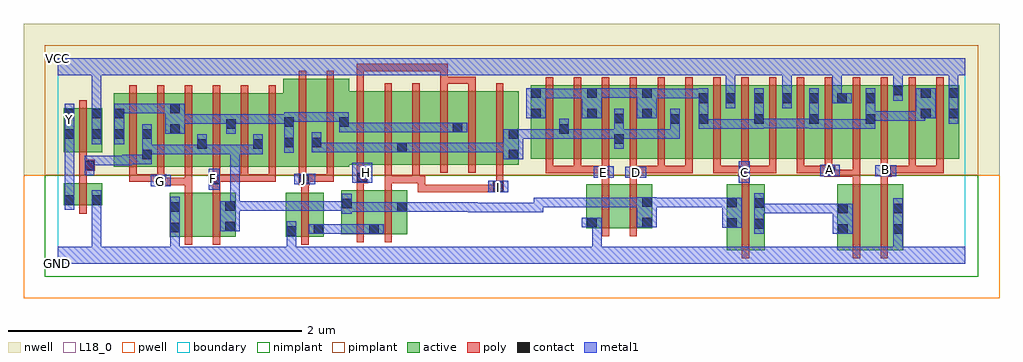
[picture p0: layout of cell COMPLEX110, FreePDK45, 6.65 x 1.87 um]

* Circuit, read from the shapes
.subckt COMPLEX110 A B C D E F G GND H I J VCC Y
M1 GND n1 Y VSUBS nfet w=0.15u l=0.05u
M2 n2 G GND VSUBS nfet w=0.3u l=0.05u
M3 n1 F n2 VSUBS nfet w=0.3u l=0.05u
M4 n3 J GND VSUBS nfet w=0.3u l=0.05u
M5 n3 H n1 VSUBS nfet w=0.3u l=0.05u
M6 n1 I n3 VSUBS nfet w=0.3u l=0.05u
M7 n4 E GND VSUBS nfet w=0.3u l=0.05u
M8 n1 D n4 VSUBS nfet w=0.3u l=0.05u
M9 n5 C n1 VSUBS nfet w=0.45u l=0.05u
M10 n6 A n5 VSUBS nfet w=0.45u l=0.05u
M11 GND B n6 VSUBS nfet w=0.45u l=0.05u
M12 VCC n1 Y n7 pfet w=0.3u l=0.05u
M13 n1 G n8 n7 pfet w=0.5u l=0.05u m=3
M14 n8 F n1 n7 pfet w=0.5u l=0.05u m=3
M15 n9 J n8 n7 pfet w=0.6u l=0.05u m=2
M16 n10 H n8 n7 pfet w=0.5u l=0.05u
M17 n9 I n10 n7 pfet w=0.5u l=0.05u
M18 n11 I n9 n7 pfet w=0.5u l=0.05u
M19 n8 H n11 n7 pfet w=0.5u l=0.05u
M20 n12 H n8 n7 pfet w=0.5u l=0.05u
M21 n9 I n12 n7 pfet w=0.5u l=0.05u
M22 n9 E n13 n7 pfet w=0.5u l=0.05u m=3
M23 n13 D n9 n7 pfet w=0.5u l=0.05u m=3
M24 VCC C n13 n7 pfet w=0.5u l=0.05u m=3
M25 n13 A VCC n7 pfet w=0.5u l=0.05u m=3
M26 VCC B n13 n7 pfet w=0.5u l=0.05u m=3
.ends

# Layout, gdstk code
import gdstk
lib = gdstk.Library(unit=1e-6, precision=1e-09)
def R(c, l, rs):  # rectangles x0, y0, x1, y1
    for r in rs: c.add(gdstk.rectangle(r[:2], r[2:], *l))
def A(c, l, x, y, w, h, nx, ny, dx, dy):  # array of equal rectangles
    R(c, l, [(x+i*dx, y+j*dy, x+i*dx+w, y+j*dy+h) for i in range(nx) for j in range(ny)])
active = (1, 0)
pwell = (2, 0)
nwell = (3, 0)
nimplant = (4, 0)
pimplant = (5, 0)
poly = (9, 0)
contact = (10, 0)
metal1 = (11, 0)
L18_0 = (18, 0)
boundary = (235, 0)

complex110 = lib.new_cell('COMPLEX110')
A(complex110, active, 2.155, 0.675, 0.225, 0.5, 3, 1, 0.38, 0)
A(complex110, active, 4.36, 0.717, 0.26, 0.5, 3, 1, 0.57, 0)
R(complex110, active, [(4.555,0.092,4.815,0.542), (5.31,0.092,5.535,0.542), (5.535,0.092,5.76,0.542), (4.555,0.097,4.63,0.542), (4.74,0.097,4.815,0.542), (5.31,0.097,5.415,0.542), (5.685,0.097,5.76,0.542), (0.76,0.185,0.835,0.485), (0.76,0.185,0.985,0.485), (0.985,0.185,1.21,0.485), (1.552,0.185,1.627,0.485), (1.552,0.185,1.812,0.485), (1.135,0.2,1.21,0.485), (1.737,0.2,1.812,0.485), (1.93,0.2,2.19,0.5), (2.115,0.2,2.38,0.5), (2.115,0.2,2.19,0.392), (2.305,0.2,2.38,0.5), (3.6,0.242,3.675,0.542), (3.6,0.242,3.825,0.542), (3.825,0.242,4.05,0.542), (3.975,0.242,4.05,0.542), (1.93,0.247,2.005,0.5), (0.04,0.397,0.115,0.547), (0.04,0.397,0.3,0.547), (0.225,0.397,0.3,0.547), (0.38,0.66,0.645,1.16), (0.38,0.66,0.455,1.157), (0.57,0.66,0.835,1.16), (0.57,0.66,0.645,1.07), (0.76,0.66,1.02,1.16), (0.945,0.66,1.02,1.07), (0.945,0.66,1.215,1.16), (1.14,0.66,1.4,1.16), (1.325,0.66,1.4,1.07), (1.325,0.66,1.61,1.16), (1.535,0.66,1.8,1.26), (1.535,0.66,1.61,1.2), (1.725,0.66,1.8,1.07), (1.725,0.66,1.985,1.26), (1.91,0.675,2.155,1.175), (2.305,0.675,2.535,1.175), (2.305,0.675,2.38,1.07), (2.685,0.675,2.76,1.157), (2.685,0.675,2.915,1.175), (3.065,0.675,3.14,1.157), (1.14,0.702,1.215,1.157), (3.22,0.717,3.485,1.217), (3.22,0.717,3.295,1.2), (3.41,0.717,3.675,1.217), (3.6,0.717,3.86,1.217), (3.785,0.717,4.05,1.217), (3.975,0.717,4.24,1.217), (4.165,0.717,4.435,1.217), (4.545,0.717,4.815,1.217), (4.74,0.717,5.005,1.217), (5.115,0.717,5.38,1.217), (5.305,0.717,5.575,1.217), (5.685,0.717,5.95,1.217), (5.875,0.717,6.14,1.217), (6.065,0.717,6.14,1.217), (1.91,0.722,1.985,1.2), (5.875,0.74,5.95,1.2), (0.04,0.76,0.115,1.06), (0.04,0.76,0.3,1.06), (0.225,0.76,0.3,1.06), (4.36,0.8,4.435,1.2), (0.76,0.807,0.835,1.157), (3.41,0.807,3.485,1.07), (3.6,0.807,3.675,1.2), (3.785,0.807,3.86,1.07), (3.975,0.807,4.05,1.2), (4.165,0.807,4.24,1.07), (4.545,0.807,4.62,1.217), (4.74,0.807,4.815,1.2), (4.93,0.807,5.005,1.217), (5.115,0.807,5.19,1.2), (5.305,0.807,5.38,1.217), (5.5,0.807,5.575,1.2), (5.685,0.807,5.76,1.217)])
R(complex110, pwell, [(-0.235,-0.235,6.415,0.602)])
R(complex110, nwell, [(-0.235,0.602,6.415,1.635)])
R(complex110, nimplant, [(-0.09,-0.09,6.27,0.602)])
R(complex110, pimplant, [(-0.09,0.602,6.27,1.49)])
A(complex110, poly, 1.055, 0.56, 0.05, 0.095, 3, 1, 0.19, 0)
A(complex110, poly, 0.485, 0.605, 0.05, 0.61, 6, 1, 0.19, 0)
A(complex110, poly, 3.325, 0.617, 0.05, 0.095, 11, 1, 0.19, 0)
A(complex110, poly, 5.605, 0.617, 0.05, 0.095, 3, 1, 0.19, 0)
A(complex110, poly, 2.035, 0.62, 0.05, 0.61, 6, 1, 0.19, 0)
A(complex110, poly, 3.325, 0.662, 0.05, 0.61, 15, 1, 0.19, 0)
R(complex110, poly, [(4.66,0.037,4.71,0.597), (5.415,0.037,5.465,0.597), (5.605,0.037,5.655,0.597), (0.865,0.13,0.915,0.54), (1.055,0.13,1.105,0.54), (1.657,0.13,1.707,0.54), (2.035,0.145,2.085,0.555), (2.225,0.145,2.275,0.555), (3.705,0.187,3.755,0.597), (3.895,0.187,3.945,0.597), (0.145,0.342,0.195,0.602), (2.452,0.487,2.655,0.537), (2.452,0.487,2.502,0.6), (2.605,0.487,2.655,0.537), (2.605,0.487,2.787,0.537), (2.737,0.487,2.787,0.537), (2.737,0.487,2.787,0.537), (2.737,0.487,2.787,0.537), (2.737,0.487,3.012,0.537), (2.962,0.487,3.012,0.537), (2.962,0.487,3.012,0.537), (2.962,0.487,3.037,0.562), (0.865,0.49,0.915,0.585), (1.055,0.49,1.105,0.585), (1.657,0.49,1.707,0.585), (2.035,0.505,2.085,0.6), (2.225,0.505,2.275,0.6), (2.985,0.512,3.035,0.67), (0.662,0.535,0.737,0.61), (0.687,0.535,0.737,0.585), (0.687,0.535,0.737,0.585), (0.687,0.535,0.915,0.585), (0.865,0.535,0.915,0.585), (0.865,0.535,0.915,0.655), (1.032,0.535,1.107,0.61), (1.64,0.535,1.715,0.61), (3.705,0.547,3.755,0.642), (3.895,0.547,3.945,0.642), (4.66,0.547,4.71,0.642), (5.415,0.547,5.465,0.642), (5.605,0.547,5.655,0.642), (2.035,0.55,2.11,0.625), (2.225,0.55,2.275,0.6), (2.225,0.55,2.275,0.6), (2.225,0.55,2.275,0.6), (2.225,0.55,2.465,0.6), (2.225,0.55,2.275,0.67), (2.415,0.55,2.465,0.6), (2.415,0.55,2.465,0.67), (2.415,0.55,2.502,0.6), (0.145,0.552,0.195,0.682), (0.485,0.56,0.535,0.655), (0.485,0.56,0.535,0.61), (0.485,0.56,0.535,0.61), (0.485,0.56,0.535,0.61), (0.485,0.56,0.712,0.61), (0.675,0.56,0.725,0.655), (1.057,0.56,1.295,0.61), (1.245,0.56,1.295,0.61), (1.245,0.56,1.295,0.61), (1.245,0.56,1.295,0.61), (1.245,0.56,1.485,0.61), (1.435,0.56,1.485,0.61), (1.435,0.56,1.485,0.61), (1.435,0.56,1.485,0.61), (1.64,0.56,1.69,0.655), (1.665,0.56,1.88,0.61), (1.83,0.56,1.88,0.655), (1.83,0.56,1.88,0.61), (1.83,0.56,1.88,0.61), (1.83,0.56,1.88,0.61), (2.035,0.575,2.085,0.67), (3.68,0.592,3.755,0.667), (3.895,0.592,3.97,0.667), (4.635,0.592,4.71,0.667), (5.222,0.592,5.297,0.667), (5.247,0.592,5.465,0.642), (5.415,0.592,5.465,0.642), (5.415,0.592,5.465,0.642), (5.415,0.592,5.465,0.642), (5.415,0.592,5.465,0.712), (5.605,0.592,5.68,0.667), (1.64,0.605,1.69,1.315), (1.83,0.605,1.88,1.315), (3.325,0.617,3.375,0.667), (3.325,0.617,3.375,0.667), (3.325,0.617,3.375,0.667), (3.325,0.617,3.565,0.667), (3.515,0.617,3.565,0.667), (3.515,0.617,3.565,0.667), (3.515,0.617,3.565,0.667), (3.515,0.617,3.73,0.667), (3.92,0.617,4.135,0.667), (4.085,0.617,4.135,0.667), (4.085,0.617,4.135,0.667), (4.085,0.617,4.135,0.667), (4.085,0.617,4.325,0.667), (4.275,0.617,4.325,0.667), (4.275,0.617,4.325,0.667), (4.275,0.617,4.325,0.667), (4.465,0.617,4.515,0.667), (4.465,0.617,4.685,0.667), (4.635,0.617,4.685,0.667), (4.635,0.617,4.685,0.667), (4.66,0.617,4.895,0.667), (4.845,0.617,4.895,0.667), (4.845,0.617,4.895,0.667), (4.845,0.617,4.895,0.667), (5.035,0.617,5.085,0.667), (5.035,0.617,5.085,0.667), (5.035,0.617,5.085,0.667), (5.035,0.617,5.272,0.667), (5.63,0.617,5.68,0.667), (5.63,0.617,5.68,0.667), (5.63,0.617,5.845,0.667), (5.795,0.617,5.845,0.667), (5.795,0.617,6.035,0.667), (5.985,0.617,6.035,0.667), (5.985,0.617,6.035,0.667), (5.985,0.617,6.035,0.667), (0.145,0.632,0.252,0.707), (0.145,0.657,0.195,0.755), (0.145,0.705,0.195,1.115), (2.035,1.18,2.085,1.362), (2.605,1.18,2.655,1.275), (2.795,1.18,2.845,1.275), (2.605,1.225,2.845,1.275), (2.605,1.225,2.655,1.362), (2.795,1.225,2.845,1.275), (2.795,1.225,2.845,1.275), (2.795,1.225,2.845,1.275), (2.035,1.312,2.085,1.362), (2.035,1.312,2.085,1.362), (2.035,1.312,2.085,1.362), (2.035,1.312,2.332,1.362), (2.282,1.312,2.332,1.362), (2.282,1.312,2.332,1.362), (2.282,1.312,2.332,1.362), (2.282,1.312,2.465,1.362), (2.415,1.312,2.465,1.362), (2.415,1.312,2.655,1.362), (2.605,1.312,2.655,1.362), (2.605,1.312,2.655,1.362)])
R(complex110, contact, [(1.557,0.19,1.622,0.255), (1.742,0.205,1.807,0.27), (2.12,0.205,2.185,0.27), (5.315,0.205,5.38,0.27), (5.69,0.205,5.755,0.27), (0.765,0.215,0.83,0.28), (1.14,0.222,1.205,0.287), (4.745,0.24,4.81,0.305), (4.56,0.245,4.625,0.31), (3.605,0.247,3.67,0.312), (3.98,0.247,4.045,0.312), (5.315,0.345,5.38,0.41), (5.69,0.345,5.755,0.41), (0.765,0.355,0.83,0.42), (2.31,0.355,2.375,0.42), (1.14,0.362,1.205,0.427), (1.935,0.377,2,0.442), (4.745,0.38,4.81,0.445), (4.56,0.385,4.625,0.45), (3.98,0.387,4.045,0.452), (0.045,0.402,0.11,0.467), (0.23,0.402,0.295,0.467), (2.967,0.492,3.032,0.557), (0.667,0.54,0.732,0.605), (1.037,0.54,1.102,0.605), (1.645,0.54,1.71,0.605), (2.04,0.555,2.105,0.62), (3.685,0.597,3.75,0.662), (3.9,0.597,3.965,0.662), (4.64,0.597,4.705,0.662), (5.227,0.597,5.292,0.662), (5.61,0.597,5.675,0.662), (0.182,0.637,0.247,0.702), (0.575,0.712,0.64,0.777), (3.07,0.712,3.135,0.777), (2.31,0.76,2.375,0.825), (0.95,0.782,1.015,0.847), (1.33,0.782,1.395,0.847), (1.54,0.792,1.605,0.857), (1.73,0.795,1.795,0.86), (3.79,0.817,3.855,0.882), (0.045,0.85,0.11,0.915), (0.23,0.85,0.295,0.915), (0.385,0.85,0.45,0.915), (0.575,0.852,0.64,0.917), (3.07,0.852,3.135,0.917), (0.765,0.885,0.83,0.95), (3.415,0.887,3.48,0.952), (2.69,0.897,2.755,0.962), (1.145,0.92,1.21,0.985), (1.54,0.932,1.605,0.997), (1.915,0.932,1.98,0.997), (4.17,0.955,4.235,1.02), (4.365,0.955,4.43,1.02), (4.745,0.955,4.81,1.02), (5.12,0.955,5.185,1.02), (5.505,0.955,5.57,1.02), (3.79,0.957,3.855,1.022), (0.045,0.99,0.11,1.055), (0.23,0.99,0.295,1.055), (0.385,0.99,0.45,1.055), (3.225,0.99,3.29,1.055), (3.605,0.99,3.67,1.055), (3.98,0.99,4.045,1.055), (5.88,0.99,5.945,1.055), (6.07,0.99,6.135,1.055), (0.765,1.025,0.83,1.09), (4.365,1.095,4.43,1.16), (4.55,1.095,4.615,1.16), (4.745,1.095,4.81,1.16), (4.935,1.095,5,1.16), (5.12,1.095,5.185,1.16), (5.31,1.095,5.375,1.16), (5.505,1.095,5.57,1.16), (3.225,1.13,3.29,1.195), (3.605,1.13,3.67,1.195), (3.98,1.13,4.045,1.195), (5.88,1.13,5.945,1.195), (6.07,1.13,6.135,1.195), (5.69,1.147,5.755,1.212)])
R(complex110, metal1, [(0,0,6.18,0.115), (0.23,0.05,0.295,0.115), (0.23,0.05,0.295,0.115), (0.23,0.05,0.295,0.115), (0.23,0.05,0.295,0.115), (0.23,0.05,0.295,0.432), (0.765,0.05,0.83,0.115), (0.765,0.05,0.83,0.115), (0.765,0.05,0.83,0.245), (1.557,0.05,1.622,0.22), (3.64,0.05,3.705,0.312), (5.69,0.05,5.755,0.235), (1.557,0.155,1.622,0.22), (1.557,0.155,1.622,0.22), (1.557,0.155,1.622,0.29), (5.69,0.17,5.755,0.445), (0.765,0.18,0.83,0.455), (1.707,0.205,1.842,0.27), (1.777,0.205,1.932,0.27), (1.867,0.205,1.932,0.27), (1.867,0.205,1.98,0.27), (1.915,0.205,1.98,0.27), (1.915,0.205,2.15,0.27), (2.085,0.205,2.15,0.27), (2.085,0.205,2.15,0.27), (2.085,0.205,2.22,0.27), (4.745,0.205,4.81,0.48), (5.28,0.205,5.415,0.41), (1.105,0.222,1.24,0.427), (4.525,0.245,4.66,0.45), (3.57,0.247,3.705,0.312), (3.64,0.247,3.705,0.312), (3.64,0.247,3.705,0.312), (3.945,0.247,4.08,0.452), (1.935,0.342,2,0.477), (4.745,0.345,4.842,0.41), (4.777,0.345,4.842,0.41), (4.777,0.345,5.047,0.41), (4.982,0.345,5.047,0.41), (4.982,0.345,5.047,0.41), (4.982,0.345,5.047,0.41), (4.982,0.345,5.185,0.41), (5.12,0.345,5.185,0.41), (5.12,0.345,5.185,0.41), (5.12,0.345,5.185,0.41), (5.12,0.345,5.345,0.41), (2.795,0.35,2.86,0.415), (2.795,0.35,2.86,0.415), (2.795,0.35,2.997,0.415), (2.795,0.35,2.86,0.42), (2.932,0.35,2.997,0.415), (2.932,0.35,3.117,0.415), (3.052,0.35,3.117,0.415), (3.052,0.35,3.307,0.415), (3.242,0.35,3.307,0.45), (1.935,0.355,2.202,0.42), (2.137,0.355,2.202,0.42), (2.137,0.355,2.202,0.42), (2.137,0.355,2.202,0.42), (2.137,0.355,2.34,0.42), (2.275,0.355,2.34,0.42), (2.275,0.355,2.34,0.42), (2.275,0.355,2.41,0.42), (2.345,0.355,2.582,0.42), (2.517,0.355,2.582,0.42), (2.517,0.355,2.582,0.42), (2.517,0.355,2.582,0.42), (2.517,0.355,2.72,0.42), (2.655,0.355,2.72,0.42), (2.655,0.355,2.72,0.42), (2.655,0.355,2.72,0.42), (2.655,0.355,2.86,0.42), (1.175,0.362,1.382,0.427), (1.175,0.362,1.24,0.812), (1.317,0.362,1.382,0.427), (1.317,0.362,1.382,0.427), (1.317,0.362,1.382,0.427), (1.317,0.362,1.537,0.427), (1.472,0.362,1.537,0.427), (1.472,0.362,1.537,0.427), (1.472,0.362,1.537,0.427), (1.472,0.362,1.795,0.427), (1.73,0.362,1.795,0.427), (1.73,0.362,1.795,0.427), (1.73,0.362,1.795,0.427), (1.73,0.362,1.932,0.427), (1.867,0.362,1.932,0.427), (1.867,0.362,2,0.427), (0.045,0.367,0.11,0.502), (0.23,0.367,0.295,0.502), (3.242,0.385,3.307,0.45), (3.242,0.385,3.307,0.45), (3.242,0.385,3.462,0.45), (3.397,0.385,3.462,0.45), (3.397,0.385,3.462,0.45), (3.397,0.385,3.462,0.45), (3.397,0.385,3.705,0.45), (3.64,0.385,3.705,0.45), (3.64,0.385,3.705,0.45), (3.64,0.385,3.705,0.45), (3.64,0.385,3.842,0.45), (3.777,0.385,3.842,0.45), (3.777,0.385,3.842,0.45), (3.777,0.385,3.842,0.45), (3.777,0.385,4.01,0.45), (4.015,0.385,4.08,0.45), (4.015,0.385,4.08,0.45), (4.015,0.385,4.292,0.45), (4.227,0.385,4.292,0.45), (4.227,0.385,4.43,0.45), (4.365,0.385,4.43,0.45), (4.365,0.385,4.43,0.45), (4.365,0.385,4.43,0.45), (4.365,0.385,4.567,0.45), (4.502,0.385,4.567,0.45), (4.502,0.385,4.59,0.45), (0.045,0.437,0.11,0.502), (0.045,0.437,0.11,0.502), (0.045,0.437,0.11,0.88), (2.932,0.487,3.067,0.565), (1.027,0.505,1.102,0.647), (0.632,0.527,0.767,0.605), (1.61,0.54,1.752,0.612), (2.005,0.552,2.14,0.687), (4.64,0.552,4.712,0.697), (3.65,0.587,3.787,0.665), (3.865,0.587,4.007,0.662), (5.192,0.597,5.327,0.675), (5.57,0.597,5.71,0.672), (0.182,0.602,0.247,0.737), (0.182,0.672,0.247,0.737), (0.182,0.672,0.25,0.737), (0.185,0.672,0.25,0.737), (0.185,0.672,0.25,0.737), (0.185,0.672,0.502,0.737), (0.437,0.672,0.502,0.737), (0.437,0.672,0.502,0.737), (0.437,0.672,0.502,0.742), (0.437,0.677,0.64,0.742), (0.575,0.677,0.64,0.952), (3.035,0.712,3.17,0.917), (0.575,0.747,0.64,0.812), (0.575,0.747,0.64,0.812), (0.575,0.747,0.795,0.812), (0.73,0.747,0.795,0.812), (0.73,0.747,0.795,0.812), (0.73,0.747,0.795,0.812), (0.73,0.747,1.015,0.812), (0.95,0.747,1.015,0.882), (0.95,0.747,1.24,0.812), (1.175,0.747,1.24,0.812), (1.175,0.747,1.24,0.812), (1.175,0.747,1.24,0.812), (1.175,0.747,1.24,0.812), (1.175,0.747,1.24,0.812), (1.175,0.747,1.395,0.812), (1.33,0.747,1.395,0.812), (1.33,0.747,1.395,0.812), (1.33,0.747,1.395,0.882), (1.54,0.757,1.605,1.032), (1.73,0.76,1.795,0.895), (1.73,0.76,1.932,0.825), (1.867,0.76,1.932,0.825), (1.867,0.76,1.98,0.825), (1.915,0.76,1.98,0.825), (1.915,0.76,2.202,0.825), (2.137,0.76,2.202,0.825), (2.137,0.76,2.202,0.825), (2.137,0.76,2.202,0.825), (2.137,0.76,2.34,0.825), (2.275,0.76,2.34,0.825), (2.275,0.76,2.34,0.825), (2.275,0.76,2.41,0.825), (2.345,0.76,2.582,0.825), (2.517,0.76,2.582,0.825), (2.517,0.76,2.582,0.825), (2.517,0.76,2.582,0.825), (2.517,0.76,2.72,0.825), (2.655,0.76,2.72,0.825), (2.655,0.76,2.72,0.825), (2.655,0.76,2.72,0.825), (2.655,0.76,2.857,0.825), (2.792,0.76,2.857,0.825), (2.792,0.76,2.962,0.825), (2.897,0.76,2.962,0.825), (2.897,0.76,2.997,0.825), (2.932,0.76,2.997,0.825), (2.932,0.76,3.1,0.825), (3.79,0.782,3.855,1.057), (0.045,0.815,0.112,1.09), (0.23,0.815,0.295,1.09), (0.385,0.815,0.45,1.09), (3.105,0.852,3.325,0.917), (3.26,0.852,3.325,0.917), (3.26,0.852,3.325,0.917), (3.26,0.852,3.325,0.917), (3.26,0.852,3.48,0.917), (3.415,0.852,3.48,0.917), (3.415,0.852,3.48,0.917), (3.415,0.852,3.48,0.987), (3.415,0.852,3.617,0.917), (3.552,0.852,3.617,0.917), (3.552,0.852,3.617,0.917), (3.552,0.852,3.617,0.917), (3.552,0.852,3.855,0.917), (3.79,0.852,3.925,0.917), (3.86,0.852,3.925,0.917), (3.86,0.852,4.01,0.917), (3.945,0.852,4.01,0.917), (3.945,0.852,4.235,0.917), (4.17,0.852,4.235,0.972), (0.73,0.885,0.865,1.09), (1.145,0.885,1.21,1.02), (1.915,0.897,1.98,1.032), (1.915,0.897,2.202,0.962), (2.137,0.897,2.202,0.962), (2.137,0.897,2.202,0.962), (2.137,0.897,2.202,0.962), (2.137,0.897,2.445,0.962), (2.38,0.897,2.445,0.962), (2.38,0.897,2.445,0.962), (2.38,0.897,2.445,0.962), (2.38,0.897,2.582,0.962), (2.517,0.897,2.582,0.962), (2.517,0.897,2.582,0.962), (2.517,0.897,2.582,0.962), (2.517,0.897,2.72,0.962), (2.655,0.897,2.72,0.962), (2.655,0.897,2.72,0.962), (2.655,0.897,2.79,0.962), (4.17,0.907,4.235,0.972), (4.17,0.907,4.235,1.055), (4.365,0.92,4.43,0.985), (4.365,0.92,4.43,0.985), (4.365,0.92,4.43,1.195), (4.365,0.92,4.567,0.985), (4.502,0.92,4.567,0.985), (4.502,0.92,4.567,0.985), (4.502,0.92,4.567,0.985), (4.502,0.92,4.705,0.985), (4.64,0.92,4.705,0.985), (4.64,0.92,4.81,0.985), (4.745,0.92,4.81,1.195), (5.12,0.92,5.185,1.195), (5.12,0.92,5.295,0.985), (5.23,0.92,5.295,0.985), (5.23,0.92,5.432,0.985), (5.367,0.92,5.432,0.985), (5.367,0.92,5.432,0.985), (5.367,0.92,5.432,0.985), (5.367,0.92,5.57,0.985), (5.505,0.92,5.57,1.195), (4.745,0.922,4.842,0.987), (4.777,0.922,4.842,0.987), (4.777,0.922,5.047,0.987), (4.982,0.922,5.047,0.987), (4.982,0.922,5.047,0.987), (4.982,0.922,5.047,0.987), (4.982,0.922,5.185,0.987), (0.8,0.955,0.865,1.02), (0.8,0.955,0.865,1.02), (0.8,0.955,1.02,1.02), (0.955,0.955,1.02,1.02), (0.955,0.955,1.21,1.02), (1.145,0.955,1.21,1.02), (1.145,0.955,1.21,1.02), (1.145,0.955,1.4,1.02), (1.335,0.955,1.4,1.02), (1.335,0.955,1.4,1.02), (1.335,0.955,1.4,1.02), (1.335,0.955,1.537,1.02), (1.472,0.955,1.537,1.02), (1.472,0.955,1.605,1.02), (6.07,0.955,6.135,1.23), (1.54,0.967,1.795,1.032), (1.73,0.967,1.795,1.032), (1.73,0.967,1.795,1.032), (1.73,0.967,1.795,1.032), (1.73,0.967,1.932,1.032), (1.867,0.967,1.932,1.032), (1.867,0.967,1.98,1.032), (5.505,0.975,5.57,1.04), (5.505,0.975,5.57,1.04), (5.505,0.975,5.772,1.04), (5.707,0.975,5.772,1.04), (5.707,0.975,5.91,1.04), (5.845,0.975,5.91,1.055), (3.19,0.99,3.325,1.195), (3.57,0.99,3.705,1.195), (3.945,0.99,4.08,1.195), (5.845,0.99,5.91,1.055), (5.845,0.99,5.98,1.195), (0.23,1.025,0.295,1.09), (0.23,1.025,0.295,1.09), (0.23,1.025,0.295,1.09), (0.23,1.025,0.295,1.09), (0.23,1.025,0.295,1.35), (0.385,1.025,0.45,1.09), (0.385,1.025,0.45,1.09), (0.385,1.025,0.657,1.09), (0.592,1.025,0.657,1.09), (0.592,1.025,0.657,1.09), (0.592,1.025,0.657,1.09), (0.592,1.025,0.795,1.09), (4.55,1.06,4.615,1.195), (4.935,1.06,5,1.195), (5.275,1.095,5.34,1.35), (5.275,1.095,5.41,1.16), (5.69,1.112,5.755,1.247), (3.26,1.127,3.325,1.192), (3.26,1.127,3.325,1.192), (3.26,1.127,3.462,1.192), (3.397,1.127,3.462,1.192), (3.397,1.127,3.462,1.192), (3.397,1.127,3.462,1.192), (3.397,1.127,3.635,1.192), (4.015,1.127,4.217,1.192), (4.152,1.127,4.217,1.192), (4.152,1.127,4.217,1.192), (4.152,1.127,4.217,1.192), (4.152,1.127,4.43,1.192), (4.365,1.127,4.43,1.192), (4.365,1.127,4.43,1.192), (3.64,1.13,3.705,1.195), (3.64,1.13,3.705,1.195), (3.64,1.13,3.842,1.195), (3.777,1.13,3.842,1.195), (3.777,1.13,3.842,1.195), (3.777,1.13,3.842,1.195), (3.777,1.13,4.01,1.195), (4.55,1.13,4.615,1.35), (4.935,1.13,5,1.195), (4.935,1.13,5,1.195), (4.935,1.13,5,1.35), (6.07,1.165,6.135,1.35), (5.69,1.182,5.755,1.35), (0,1.285,6.18,1.4), (4.55,1.285,4.615,1.35), (4.55,1.285,4.615,1.35), (5.275,1.285,5.34,1.35), (5.275,1.285,5.34,1.35), (5.69,1.285,5.755,1.35), (5.69,1.285,5.755,1.35), (6.07,1.285,6.135,1.35), (6.07,1.285,6.135,1.35)])
R(complex110, L18_0, [(0,0,6.18,0.115), (0.23,0.05,0.295,0.115), (0.23,0.05,0.295,0.115), (0.23,0.05,0.295,0.115), (0.23,0.05,0.295,0.115), (0.23,0.05,0.295,0.432), (0.765,0.05,0.83,0.115), (0.765,0.05,0.83,0.115), (0.765,0.05,0.83,0.245), (1.557,0.05,1.622,0.22), (3.64,0.05,3.705,0.312), (5.69,0.05,5.755,0.235), (1.557,0.155,1.622,0.29), (1.557,0.155,1.622,0.22), (1.557,0.155,1.622,0.22), (5.69,0.17,5.755,0.445), (0.765,0.18,0.83,0.455), (3.57,0.247,3.705,0.312), (3.64,0.247,3.705,0.312), (3.64,0.247,3.705,0.312), (0.045,0.367,0.11,0.502), (0.23,0.367,0.295,0.502), (0.045,0.437,0.11,0.502), (0.045,0.437,0.11,0.502), (0.045,0.437,0.11,0.88), (2.932,0.487,3.067,0.565), (2.967,0.487,3.032,0.552), (1.027,0.505,1.102,0.647), (0.632,0.527,0.767,0.605), (0.667,0.527,0.732,0.592), (1.61,0.54,1.752,0.612), (1.027,0.547,1.092,0.612), (1.647,0.547,1.712,0.612), (2.005,0.552,2.14,0.687), (4.64,0.552,4.712,0.697), (2.067,0.587,2.132,0.652), (3.65,0.587,3.787,0.665), (3.687,0.587,3.752,0.652), (3.865,0.587,4.007,0.662), (3.907,0.587,3.972,0.652), (4.647,0.587,4.712,0.652), (5.192,0.597,5.327,0.675), (5.57,0.597,5.71,0.672), (5.227,0.607,5.292,0.672), (5.607,0.607,5.672,0.672), (0.045,0.815,0.112,1.09), (0.23,0.815,0.295,1.09), (0.047,0.947,0.112,1.012), (6.07,0.955,6.135,1.23), (0.23,1.025,0.295,1.09), (0.23,1.025,0.295,1.09), (0.23,1.025,0.295,1.09), (0.23,1.025,0.295,1.09), (0.23,1.025,0.295,1.35), (4.55,1.06,4.615,1.195), (4.935,1.06,5,1.195), (5.275,1.095,5.41,1.16), (5.275,1.095,5.34,1.35), (5.69,1.112,5.755,1.247), (4.55,1.13,4.615,1.35), (4.935,1.13,5,1.195), (4.935,1.13,5,1.195), (4.935,1.13,5,1.35), (6.07,1.165,6.135,1.35), (5.69,1.182,5.755,1.35), (0,1.285,6.18,1.4), (4.55,1.285,4.615,1.35), (4.55,1.285,4.615,1.35), (5.275,1.285,5.34,1.35), (5.275,1.285,5.34,1.35), (5.69,1.285,5.755,1.35), (5.69,1.285,5.755,1.35), (6.07,1.285,6.135,1.35), (6.07,1.285,6.135,1.35)])
R(complex110, boundary, [(0,0,6.18,1.4)])
complex110.add(gdstk.Label('A', (5.26,0.64), layer=11, texttype=0))
complex110.add(gdstk.Label('B', (5.64,0.64), layer=11, texttype=0))
complex110.add(gdstk.Label('C', (4.68,0.62), layer=11, texttype=0))
complex110.add(gdstk.Label('D', (3.94,0.62), layer=11, texttype=0))
complex110.add(gdstk.Label('E', (3.72,0.62), layer=11, texttype=0))
complex110.add(gdstk.Label('F', (1.06,0.58), layer=11, texttype=0))
complex110.add(gdstk.Label('G', (0.7,0.56), layer=11, texttype=0))
complex110.add(gdstk.Label('H', (2.1,0.62), layer=11, texttype=0))
complex110.add(gdstk.Label('I', (3,0.52), layer=11, texttype=0))
complex110.add(gdstk.Label('J', (1.68,0.58), layer=11, texttype=0))
complex110.add(gdstk.Label('Y', (0.08,0.98), layer=11, texttype=0))
complex110.add(gdstk.Label('VCC', (0,1.4), layer=11, texttype=0))
complex110.add(gdstk.Label('GND', (0,0), layer=11, texttype=0))

lib.write_gds('COMPLEX110.gds')
